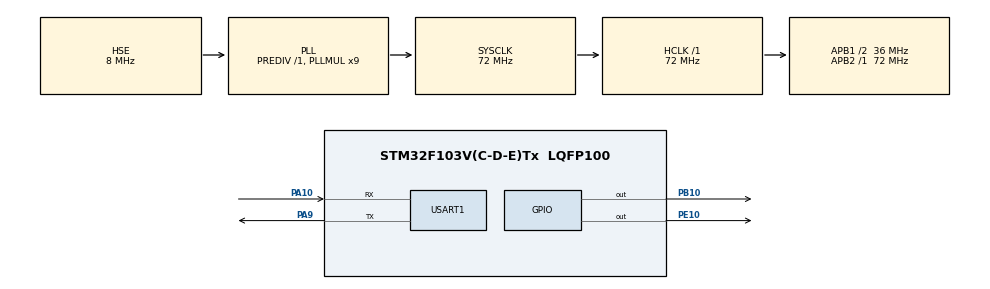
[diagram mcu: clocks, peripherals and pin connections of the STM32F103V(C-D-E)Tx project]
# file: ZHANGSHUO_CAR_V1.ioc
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Mcu.Family=STM32F1
Mcu.Name=STM32F103V(C-D-E)Tx
Mcu.Package=LQFP100
NVIC.PriorityGroup=NVIC_PRIORITYGROUP_4
NVIC.USART1_IRQn=true\:0\:0\:false\:false\:true\:true\:true
OSC_IN.Mode=HSE-External-Oscillator
OSC_IN.Signal=RCC_OSC_IN
OSC_OUT.Mode=HSE-External-Oscillator
OSC_OUT.Signal=RCC_OSC_OUT
PA10.Mode=Asynchronous
PA10.Signal=USART1_RX
PA13.Mode=Serial_Wire
PA13.Signal=SYS_JTMS-SWDIO
PA14.Mode=Serial_Wire
PA14.Signal=SYS_JTCK-SWCLK
PA9.Mode=Asynchronous
PA9.Signal=USART1_TX
PB10.Signal=GPIO_Output
PC14-OSC32_IN.Mode=LSE-External-Oscillator
PC14-OSC32_IN.Signal=RCC_OSC32_IN
PC15-OSC32_OUT.Mode=LSE-External-Oscillator
PC15-OSC32_OUT.Signal=RCC_OSC32_OUT
PE10.Signal=GPIO_Output
ProjectManager.HeapSize=0x200
ProjectManager.StackSize=0x400
ProjectManager.TargetToolchain=SW4STM32
RCC.AHBFreq_Value=72000000
RCC.APB1CLKDivider=RCC_HCLK_DIV2
RCC.APB1Freq_Value=36000000
RCC.APB1TimFreq_Value=72000000
RCC.APB2Freq_Value=72000000
RCC.APB2TimFreq_Value=72000000
RCC.HCLKFreq_Value=72000000
RCC.PLLMUL=RCC_PLL_MUL9
RCC.PLLSourceVirtual=RCC_PLLSOURCE_HSE
RCC.SYSCLKFreq_VALUE=72000000
RCC.SYSCLKSource=RCC_SYSCLKSOURCE_PLLCLK
RCC.USBFreq_Value=72000000
USART1.VirtualMode=VM_ASYNC
board=custom

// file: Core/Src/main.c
/* USER CODE BEGIN Header */
/**
  ******************************************************************************
  * @file           : main.c
  * @brief          : Main program body
  ******************************************************************************
  * @attention
  *
  * <h2><center>&copy; Copyright (c) 2022 STMicroelectronics.
  * All rights reserved.</center></h2>
  *
  * This software component is licensed by ST under BSD 3-Clause license,
  * the "License"; You may not use this file except in compliance with the
  * License. You may obtain a copy of the License at:
  *                        opensource.org/licenses/BSD-3-Clause
  *
  ******************************************************************************
  */
/* USER CODE END Header */
#include "main.h"
#include "usart.h"
#include "gpio.h"

/* USER CODE BEGIN Includes */
#include <stdio.h>
#ifdef __GNUC__
#define PUTCHAR_PROTOTYPE int __io_putchar(int ch)
#else
#define PUTCHAR_PROTOTYPE int fputc(int ch, FILE *f)
#endif
PUTCHAR_PROTOTYPE{
    // 参数1： 使用哪个usart ,参数2： 字符， 参数3：输出数量， 参数4：超时等待时间
    HAL_UART_Transmit(&huart1 , (uint8_t *)&ch, 1 , 0xffff);
    return ch;
}

#define LOG_ENABLE 1
#if LOG_ENABLE
#define log(format,...) printf(format"\r\n",##__VA_ARGS__)
#else
#define log(format,...)
#endif
/* USER CODE END Includes */

void SystemClock_Config(void);

/* USER CODE BEGIN 0 */
uint8_t data[20]={0};
//回调函数：接收usart1串口数据
void HAL_UART_RxCpltCallback(UART_HandleTypeDef *huart){
    HAL_UART_Transmit(&huart1,data,1,3000);
    /*再开启中断*/
    HAL_UART_Receive_IT(&huart1,data,1);
}
/* USER CODE END 0 */

int main(void)
{

  /* MCU Configuration--------------------------------------------------------*/

  /* Reset of all peripherals, Initializes the Flash interface and the Systick. */
  HAL_Init();

  /* Configure the system clock */
  SystemClock_Config();

  /* Initialize all configured peripherals */
  MX_GPIO_Init();
  MX_USART1_UART_Init();
  /* USER CODE BEGIN 2 */
///*****************************串口发送数据(只发一个)**************************************/
//    //定义一个数据
//    uint8_t data[] = "hello";
//    HAL_UART_Transmit(&huart1,data, sizeof(data),3000);
/********************************开启中断*******************************************************/
  HAL_UART_Receive_IT(&huart1,data,1);
  /* USER CODE END 2 */

  /* Infinite loop */
  /* USER CODE BEGIN WHILE */

  while (1) {
      //温度
//      printf("temputer:%d\r\n",30);
//    log("temputer:%d",30);
      printf("temputer:%f\r\n",36.5);
      HAL_Delay(1000);
    /* USER CODE END WHILE */

    /* USER CODE BEGIN 3 */
        /**********************************CONTROL_LED3*************************************/
//        HAL_GPIO_WritePin(GPIOE, GPIO_PIN_10, GPIO_PIN_RESET);
//        HAL_Delay(3000);
//        HAL_GPIO_WritePin(GPIOE, GPIO_PIN_10, GPIO_PIN_SET);
//        HAL_Delay(3000);
        /****************************响_蜂鸣器**********************************/
//        HAL_GPIO_WritePin(GPIOB,GPIO_PIN_10,GPIO_PIN_SET);
//        //延迟两秒钟
//        HAL_Delay(1000);
//        /*停_蜂鸣器*/
//        HAL_GPIO_WritePin(GPIOB,GPIO_PIN_10,GPIO_PIN_RESET);
//        //延迟两秒钟
//        HAL_Delay(1000);
//        /***************************开关按钮*********************************************/
//        //读取开关按钮状态
//        GPIO_PinState state = HAL_GPIO_ReadPin(GPIOD, GPIO_PIN_8);
//
//        if (state==GPIO_PIN_RESET){
//            // 如果低电平，亮LED；
//            HAL_GPIO_WritePin(GPIOE, GPIO_PIN_10, GPIO_PIN_RESET);
//        } else if (state==GPIO_PIN_SET){
//            // 如果高电平，灭LED；
//            HAL_GPIO_WritePin(GPIOE, GPIO_PIN_10, GPIO_PIN_SET);
///*****************************串口发送数据(一直发)**************************************/
//        //定义一个数据
//        uint8_t data[] = "hello";
//        HAL_UART_Transmit(&huart1,data, sizeof(data),3000);
///********************************接收串口数据*******************************************/
//        uint8_t data[20]={0};
//        HAL_UART_Receive(&huart1,data, sizeof(data),3000);
//        // 打印收到的数据
//        HAL_UART_Transmit(&huart1,data,1,3000);
  }

  /* USER CODE END 3 */
}

void SystemClock_Config(void)
{
  RCC_OscInitTypeDef RCC_OscInitStruct = {0};
  RCC_ClkInitTypeDef RCC_ClkInitStruct = {0};

  /** Initializes the RCC Oscillators according to the specified parameters
  * in the RCC_OscInitTypeDef structure.
  */
  RCC_OscInitStruct.OscillatorType = RCC_OSCILLATORTYPE_HSE;
  RCC_OscInitStruct.HSEState = RCC_HSE_ON;
  RCC_OscInitStruct.HSEPredivValue = RCC_HSE_PREDIV_DIV1;
  RCC_OscInitStruct.HSIState = RCC_HSI_ON;
  RCC_OscInitStruct.PLL.PLLState = RCC_PLL_ON;
  RCC_OscInitStruct.PLL.PLLSource = RCC_PLLSOURCE_HSE;
  RCC_OscInitStruct.PLL.PLLMUL = RCC_PLL_MUL9;
  if (HAL_RCC_OscConfig(&RCC_OscInitStruct) != HAL_OK)
  {
    Error_Handler();
  }
  /** Initializes the CPU, AHB and APB buses clocks
  */
  RCC_ClkInitStruct.ClockType = RCC_CLOCKTYPE_HCLK|RCC_CLOCKTYPE_SYSCLK
                              |RCC_CLOCKTYPE_PCLK1|RCC_CLOCKTYPE_PCLK2;
  RCC_ClkInitStruct.SYSCLKSource = RCC_SYSCLKSOURCE_PLLCLK;
  RCC_ClkInitStruct.AHBCLKDivider = RCC_SYSCLK_DIV1;
  RCC_ClkInitStruct.APB1CLKDivider = RCC_HCLK_DIV2;
  RCC_ClkInitStruct.APB2CLKDivider = RCC_HCLK_DIV1;

  if (HAL_RCC_ClockConfig(&RCC_ClkInitStruct, FLASH_LATENCY_2) != HAL_OK)
  {
    Error_Handler();
  }
}

void Error_Handler(void)
{
    __disable_irq();
    while (1) {
    }
}

/************************ (C) COPYRIGHT STMicroelectronics *****END OF FILE****/
